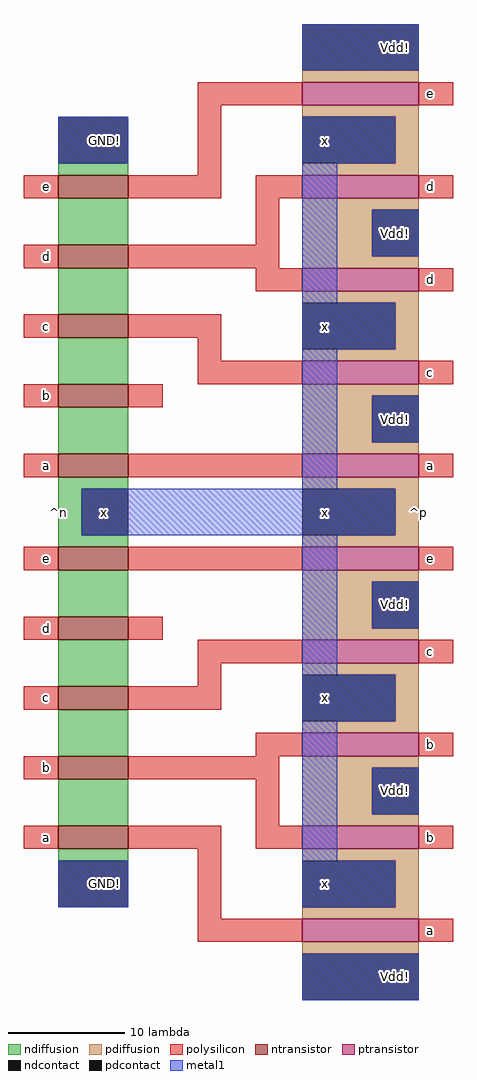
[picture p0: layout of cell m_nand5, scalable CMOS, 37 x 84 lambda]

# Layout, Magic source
magic
tech scmos
<< ndiffusion >>
rect -220 -719 -214 -718
rect -220 -725 -214 -721
rect -220 -731 -214 -727
rect -220 -737 -214 -733
rect -220 -743 -214 -739
rect -220 -746 -214 -745
rect -220 -750 -218 -746
rect -220 -751 -214 -750
rect -220 -757 -214 -753
rect -220 -763 -214 -759
rect -220 -769 -214 -765
rect -220 -775 -214 -771
rect -220 -778 -214 -777
<< pdiffusion >>
rect -199 -711 -189 -710
rect -199 -714 -189 -713
rect -191 -718 -189 -714
rect -199 -719 -189 -718
rect -199 -722 -189 -721
rect -199 -726 -193 -722
rect -199 -727 -189 -726
rect -199 -730 -189 -729
rect -191 -734 -189 -730
rect -199 -735 -189 -734
rect -199 -738 -189 -737
rect -199 -742 -193 -738
rect -199 -743 -189 -742
rect -199 -746 -189 -745
rect -191 -750 -189 -746
rect -199 -751 -189 -750
rect -199 -754 -189 -753
rect -199 -758 -193 -754
rect -199 -759 -189 -758
rect -199 -762 -189 -761
rect -191 -766 -189 -762
rect -199 -767 -189 -766
rect -199 -770 -189 -769
rect -199 -774 -193 -770
rect -199 -775 -189 -774
rect -199 -778 -189 -777
rect -191 -782 -189 -778
rect -199 -783 -189 -782
rect -199 -786 -189 -785
<< ntransistor >>
rect -220 -721 -214 -719
rect -220 -727 -214 -725
rect -220 -733 -214 -731
rect -220 -739 -214 -737
rect -220 -745 -214 -743
rect -220 -753 -214 -751
rect -220 -759 -214 -757
rect -220 -765 -214 -763
rect -220 -771 -214 -769
rect -220 -777 -214 -775
<< ptransistor >>
rect -199 -713 -189 -711
rect -199 -721 -189 -719
rect -199 -729 -189 -727
rect -199 -737 -189 -735
rect -199 -745 -189 -743
rect -199 -753 -189 -751
rect -199 -761 -189 -759
rect -199 -769 -189 -767
rect -199 -777 -189 -775
rect -199 -785 -189 -783
<< polysilicon >>
rect -208 -713 -199 -711
rect -189 -713 -186 -711
rect -208 -719 -206 -713
rect -223 -721 -220 -719
rect -214 -721 -206 -719
rect -203 -721 -199 -719
rect -189 -721 -186 -719
rect -203 -725 -201 -721
rect -223 -727 -220 -725
rect -214 -727 -201 -725
rect -203 -729 -199 -727
rect -189 -729 -186 -727
rect -223 -733 -220 -731
rect -214 -733 -206 -731
rect -208 -735 -206 -733
rect -208 -737 -199 -735
rect -189 -737 -186 -735
rect -223 -739 -220 -737
rect -214 -739 -211 -737
rect -223 -745 -220 -743
rect -214 -745 -199 -743
rect -189 -745 -186 -743
rect -223 -753 -220 -751
rect -214 -753 -199 -751
rect -189 -753 -186 -751
rect -223 -759 -220 -757
rect -214 -759 -211 -757
rect -208 -761 -199 -759
rect -189 -761 -186 -759
rect -208 -763 -206 -761
rect -223 -765 -220 -763
rect -214 -765 -206 -763
rect -203 -769 -199 -767
rect -189 -769 -186 -767
rect -223 -771 -220 -769
rect -214 -771 -201 -769
rect -203 -775 -201 -771
rect -223 -777 -220 -775
rect -214 -777 -206 -775
rect -203 -777 -199 -775
rect -189 -777 -186 -775
rect -208 -783 -206 -777
rect -208 -785 -199 -783
rect -189 -785 -186 -783
<< ndcontact >>
rect -220 -718 -214 -714
rect -218 -750 -214 -746
rect -220 -782 -214 -778
<< pdcontact >>
rect -199 -710 -189 -706
rect -199 -718 -191 -714
rect -193 -726 -189 -722
rect -199 -734 -191 -730
rect -193 -742 -189 -738
rect -199 -750 -191 -746
rect -193 -758 -189 -754
rect -199 -766 -191 -762
rect -193 -774 -189 -770
rect -199 -782 -191 -778
rect -199 -790 -189 -786
<< metal1 >>
rect -199 -710 -189 -706
rect -220 -718 -214 -714
rect -199 -718 -191 -714
rect -199 -730 -196 -718
rect -193 -726 -189 -722
rect -199 -734 -191 -730
rect -199 -746 -196 -734
rect -193 -742 -189 -738
rect -218 -750 -191 -746
rect -199 -762 -196 -750
rect -193 -758 -189 -754
rect -199 -766 -191 -762
rect -199 -778 -196 -766
rect -193 -774 -189 -770
rect -220 -782 -214 -778
rect -199 -782 -191 -778
rect -199 -790 -189 -786
<< labels >>
rlabel polysilicon -188 -712 -188 -712 3 e
rlabel polysilicon -188 -720 -188 -720 3 d
rlabel polysilicon -188 -728 -188 -728 3 d
rlabel polysilicon -188 -736 -188 -736 3 c
rlabel polysilicon -188 -744 -188 -744 3 a
rlabel polysilicon -188 -752 -188 -752 3 e
rlabel polysilicon -188 -760 -188 -760 3 c
rlabel polysilicon -188 -768 -188 -768 3 b
rlabel polysilicon -188 -776 -188 -776 3 b
rlabel polysilicon -188 -784 -188 -784 3 a
rlabel space -192 -791 -186 -705 3 ^p
rlabel polysilicon -221 -776 -221 -776 3 a
rlabel polysilicon -221 -770 -221 -770 3 b
rlabel polysilicon -221 -764 -221 -764 3 c
rlabel polysilicon -221 -758 -221 -758 3 d
rlabel polysilicon -221 -744 -221 -744 3 a
rlabel polysilicon -221 -738 -221 -738 3 b
rlabel polysilicon -221 -732 -221 -732 3 c
rlabel polysilicon -221 -726 -221 -726 3 d
rlabel polysilicon -221 -720 -221 -720 3 e
rlabel polysilicon -221 -752 -221 -752 3 e
rlabel space -223 -783 -217 -713 7 ^n
rlabel pdcontact -191 -740 -191 -740 1 Vdd!
rlabel pdcontact -191 -724 -191 -724 1 Vdd!
rlabel pdcontact -191 -756 -191 -756 1 Vdd!
rlabel pdcontact -191 -772 -191 -772 1 Vdd!
rlabel pdcontact -191 -788 -191 -788 1 Vdd!
rlabel pdcontact -191 -708 -191 -708 1 Vdd!
rlabel pdcontact -197 -716 -197 -716 1 x
rlabel pdcontact -197 -732 -197 -732 1 x
rlabel pdcontact -197 -748 -197 -748 1 x
rlabel pdcontact -197 -764 -197 -764 1 x
rlabel pdcontact -197 -780 -197 -780 1 x
rlabel ndcontact -216 -748 -216 -748 1 x
rlabel ndcontact -216 -716 -216 -716 5 GND!
rlabel ndcontact -216 -780 -216 -780 1 GND!
<< end >>
